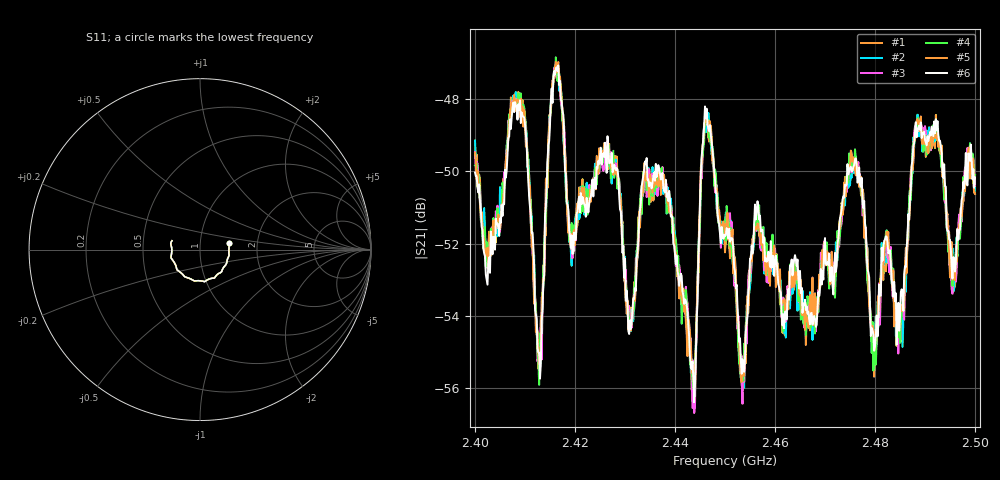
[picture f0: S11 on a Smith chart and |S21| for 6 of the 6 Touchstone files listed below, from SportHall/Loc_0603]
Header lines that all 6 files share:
# Hz S RI R
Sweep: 2.4 GHz to 2.5 GHz
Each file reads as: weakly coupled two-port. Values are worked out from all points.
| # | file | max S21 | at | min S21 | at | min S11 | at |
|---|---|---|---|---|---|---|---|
| 1 | Lab_139_1Ch1.s2p | -47.13 dB | 2.4167 GHz | -56.3 dB | 2.4437 GHz | -15.6 dB | 2.4932 GHz |
| 2 | Lab_139_2Ch1.s2p | -47.04 dB | 2.4163 GHz | -56.4 dB | 2.4435 GHz | -15.6 dB | 2.4928 GHz |
| 3 | Lab_139_3Ch1.s2p | -47.10 dB | 2.4165 GHz | -56.7 dB | 2.4438 GHz | -15.6 dB | 2.4928 GHz |
| 4 | Lab_139_4Ch1.s2p | -46.85 dB | 2.4162 GHz | -56.0 dB | 2.4438 GHz | -15.6 dB | 2.4928 GHz |
| 5 | Lab_139_7Ch1.s2p | -46.97 dB | 2.4162 GHz | -55.8 dB | 2.4533 GHz | -15.7 dB | 2.4928 GHz |
| 6 | Lab_139_9Ch1.s2p | -47.07 dB | 2.4167 GHz | -56.4 dB | 2.4438 GHz | -15.6 dB | 2.4932 GHz |
